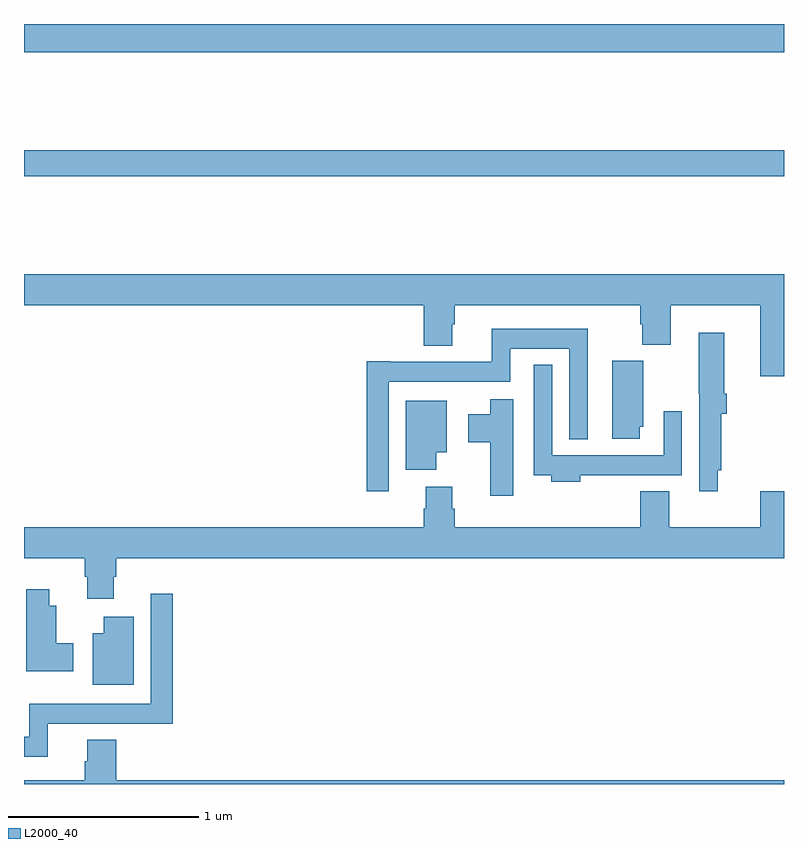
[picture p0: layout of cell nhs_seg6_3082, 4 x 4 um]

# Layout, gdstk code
import gdstk
lib = gdstk.Library(unit=1e-6, precision=1e-09)
def R(c, l, rs):  # rectangles x0, y0, x1, y1
    for r in rs: c.add(gdstk.rectangle(r[:2], r[2:], *l))
def P(c, l, *ps):  # polygons
    for p in ps: c.add(gdstk.Polygon(p, *l))
L2000_40 = (2000, 40)

nhs_seg6_3082 = lib.new_cell('nhs_seg6_3082')
R(nhs_seg6_3082, L2000_40, [(293,930.7,297,930.836), (293,931.352,297,931.5)])
P(nhs_seg6_3082, L2000_40, [(293,930.02),(295.103,930.02),(295.103,929.807),(295.255,929.807),(295.255,929.919),(295.268,929.919),(295.268,930.02),(296.243,930.02),(296.243,929.921),(296.255,929.921),(296.255,929.812),(296.403,929.812),(296.403,930.02),(296.876,930.02),(296.876,929.646),(297,929.646),(297,930.184),(293,930.184)],
  [(294.921,929.618),(295.56,929.618),(295.56,929.792),(295.869,929.792),(295.869,929.315),(295.966,929.315),(295.966,929.896),(295.463,929.896),(295.463,929.722),(294.928,929.722),(294.928,929.725),(294.805,929.725),(294.805,929.04),(294.921,929.04)],
  [(296.652,929.152),(296.669,929.152),(296.669,929.45),(296.699,929.45),(296.699,929.554),(296.686,929.554),(296.686,929.875),(296.552,929.875),(296.552,929.554),(296.553,929.554),(296.553,929.04),(296.652,929.04)],
  [(296.242,929.379),(296.26,929.379),(296.26,929.727),(296.096,929.727),(296.096,929.316),(296.242,929.316)],
  [(295.928,929.124),(296.159,929.124),(296.159,929.126),(296.463,929.126),(296.463,929.461),(296.367,929.461),(296.367,929.23),(295.779,929.23),(295.779,929.707),(295.683,929.707),(295.683,929.124),(295.775,929.124),(295.775,929.09),(295.928,929.09)],
  [(295.576,929.524),(295.454,929.524),(295.454,929.446),(295.337,929.446),(295.337,929.299),(295.454,929.299),(295.454,929.016),(295.576,929.016)],
  [(295.171,929.246),(295.225,929.246),(295.225,929.518),(295.01,929.518),(295.01,929.153),(295.171,929.153)],
  [(293.473,928.59),(293.486,928.59),(293.486,928.688),(297,928.688),(297,929.041),(296.876,929.041),(296.876,928.852),(296.395,928.852),(296.395,929.041),(296.243,929.041),(296.243,928.852),(295.268,928.852),(295.268,928.95),(295.255,928.95),(295.255,929.065),(295.115,929.065),(295.115,928.95),(295.103,928.95),(295.103,928.852),(293,928.852),(293,928.688),(293.321,928.688),(293.321,928.59),(293.333,928.59),(293.333,928.476),(293.473,928.476)],
  [(293.26,928.242),(293.17,928.242),(293.17,928.438),(293.134,928.438),(293.134,928.525),(293.012,928.525),(293.012,928.094),(293.26,928.094)],
  [(293.126,927.818),(293.66,927.818),(293.66,927.816),(293.783,927.816),(293.783,928.501),(293.667,928.501),(293.667,927.922),(293.028,927.922),(293.028,927.748),(293,927.748),(293,927.644),(293.126,927.644)],
  [(293.578,928.381),(293.42,928.381),(293.42,928.294),(293.363,928.294),(293.363,928.022),(293.578,928.022)],
  [(297,927.52),(293.486,927.52),(293.486,927.733),(293.333,927.733),(293.333,927.621),(293.321,927.621),(293.321,927.52),(293,927.52),(293,927.5),(297,927.5)])

lib.write_gds('nhs_seg6_3082.gds')
